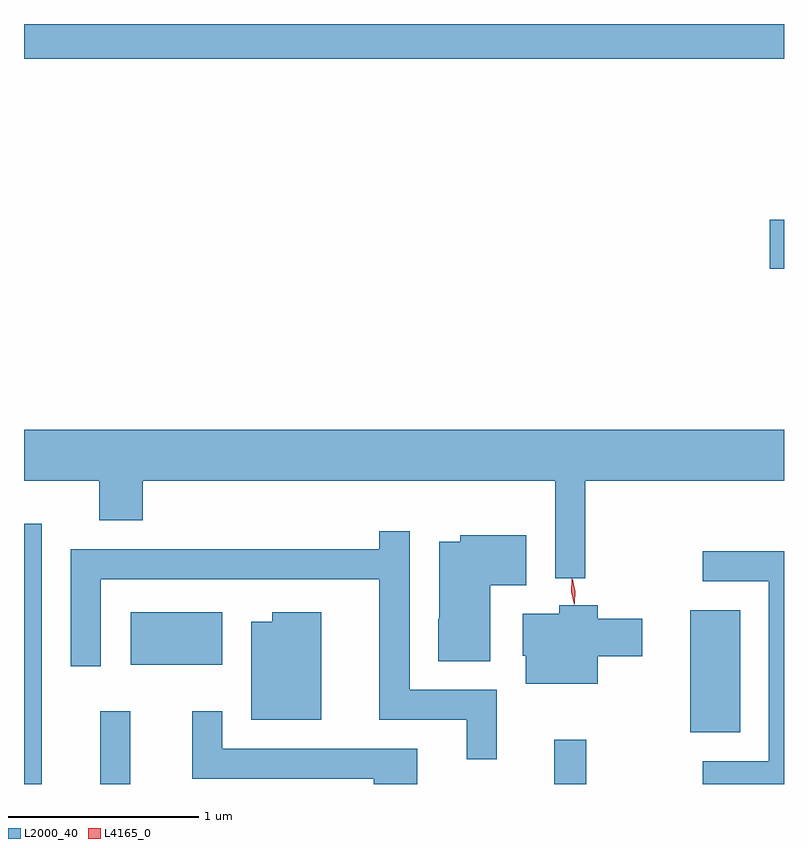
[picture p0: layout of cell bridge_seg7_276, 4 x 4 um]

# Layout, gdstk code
import gdstk
lib = gdstk.Library(unit=1e-6, precision=1e-09)
def R(c, l, rs):  # rectangles x0, y0, x1, y1
    for r in rs: c.add(gdstk.rectangle(r[:2], r[2:], *l))
def P(c, l, *ps):  # polygons
    for p in ps: c.add(gdstk.Polygon(p, *l))
L2000_40 = (2000, 40)
L4165_0 = (4165, 0)

bridge_seg7_276 = lib.new_cell('bridge_seg7_276')
R(bridge_seg7_276, L2000_40, [(1278.82,1737.139,1278.914,1738.509), (1279.221,1737.139,1279.379,1737.523), (1281.611,1737.139,1281.779,1737.373), (1282.326,1737.411,1282.589,1738.054), (1279.381,1737.766,1279.864,1738.044), (1282.746,1739.851,1282.82,1740.109), (1278.82,1740.956,1282.82,1741.139)])
P(bridge_seg7_276, L2000_40, [(1281.774,1738.736),(1282.82,1738.736),(1282.82,1739.004),(1278.82,1739.004),(1278.82,1738.736),(1279.216,1738.736),(1279.216,1738.526),(1279.444,1738.526),(1279.444,1738.736),(1281.616,1738.736),(1281.616,1738.223),(1281.774,1738.223)],
  [(1281.309,1737.634),(1280.849,1737.634),(1280.849,1738.468),(1280.691,1738.468),(1280.691,1738.374),(1279.066,1738.374),(1279.066,1737.758),(1279.224,1737.758),(1279.224,1738.216),(1280.691,1738.216),(1280.691,1737.476),(1281.151,1737.476),(1281.151,1737.268),(1281.309,1737.268)],
  [(1281.274,1738.186),(1281.464,1738.186),(1281.464,1738.449),(1281.116,1738.449),(1281.116,1738.414),(1281.006,1738.414),(1281.006,1738.01),(1281.001,1738.01),(1281.001,1737.786),(1281.274,1737.786)],
  [(1282.82,1738.364),(1282.393,1738.364),(1282.393,1738.206),(1282.741,1738.206),(1282.741,1737.259),(1282.393,1737.259),(1282.393,1737.139),(1282.82,1737.139)],
  [(1281.839,1737.811),(1282.074,1737.811),(1282.074,1738.009),(1281.839,1738.009),(1281.839,1738.079),(1281.636,1738.079),(1281.636,1738.034),(1281.446,1738.034),(1281.446,1737.815),(1281.461,1737.815),(1281.461,1737.666),(1281.839,1737.666)],
  [(1280.384,1738.044),(1280.126,1738.044),(1280.126,1737.994),(1280.016,1737.994),(1280.016,1737.476),(1280.384,1737.476)],
  [(1280.889,1737.324),(1279.864,1737.324),(1279.864,1737.523),(1279.706,1737.523),(1279.706,1737.166),(1280.661,1737.166),(1280.661,1737.139),(1280.889,1737.139)])
P(bridge_seg7_276, L4165_0, [(1281.716,1738.083),(1281.7,1738.151),(1281.703,1738.22),(1281.704,1738.22),(1281.704,1738.22),(1281.72,1738.152),(1281.717,1738.083),(1281.717,1738.083)],
  [(1281.719,1738.089),(1281.718,1738.09),(1281.703,1738.152),(1281.706,1738.217),(1281.706,1738.217),(1281.707,1738.217),(1281.722,1738.154),(1281.719,1738.09)])

lib.write_gds('bridge_seg7_276.gds')
